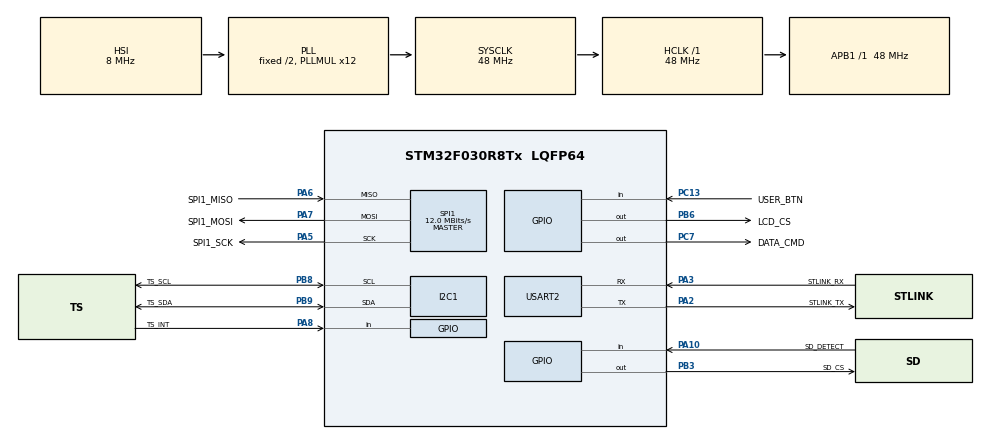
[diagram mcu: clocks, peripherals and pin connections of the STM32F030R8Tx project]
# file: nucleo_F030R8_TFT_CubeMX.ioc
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Mcu.Family=STM32F0
PA2.GPIO_PuPd=GPIO_NOPULL
PA6.Mode=Full_Duplex_Master
SPI1.VirtualType=VM_MASTER
PA10.GPIO_PuPd=GPIO_PULLUP
PA14.GPIO_Label=TCK
PA3.GPIO_PuPd=GPIO_NOPULL
PA2.GPIO_Speed=GPIO_SPEED_FREQ_LOW
PA6.GPIO_Label=SPI1_MISO
PB6.GPIO_Label=LCD_CS
PC13.GPIO_Label=USER_BTN
PA3.GPIO_Speed=GPIO_SPEED_FREQ_LOW
PB3.GPIO_Speed=GPIO_SPEED_FREQ_MEDIUM
RCC.SYSCLKSource=RCC_SYSCLKSOURCE_PLLCLK
ProjectManager.StackSize=0x400
SPI1.CLKPolarity=SPI_POLARITY_LOW
PB3.PinState=GPIO_PIN_SET
SPI1.Direction=SPI_DIRECTION_2LINES
RCC.HCLKFreq_Value=48000000
PB6.Signal=GPIO_Output
PC7.Signal=GPIO_Output
SPI1.CalculateBaudRate=12.0 MBits/s
RCC.AHBFreq_Value=48000000
USART2.VirtualMode-Asynchronous=VM_ASYNC
RCC.PLLMUL=RCC_PLL_MUL12
PA6.GPIO_PuPd=GPIO_PULLUP
PB3.GPIO_PuPd=GPIO_PULLUP
PC14-OSC32_IN.Mode=LSE-External-Oscillator
PA14.Mode=Serial_Wire
PA5.GPIO_PuPd=GPIO_PULLUP
SPI1.DataSize=SPI_DATASIZE_8BIT
PA10.GPIO_Label=SD_DETECT
PC7.PinState=GPIO_PIN_SET
PA8.Signal=GPIO_Input
Mcu.Package=LQFP64
PB9.Signal=I2C1_SDA
PA6.Signal=SPI1_MISO
PA2.GPIO_Label=STLINK_TX
PA10.Signal=GPIO_Input
RCC.APB1TimFreq_Value=48000000
SPI1.BaudRatePrescaler=SPI_BAUDRATEPRESCALER_4
PF1-OSC_OUT.Signal=RCC_OSC_OUT
PA3.Signal=USART2_RX
PA5.Mode=Full_Duplex_Master
PA2.GPIO_Mode=GPIO_MODE_AF_PP
PB3.GPIO_Label=SD_CS
PC15-OSC32_OUT.Mode=LSE-External-Oscillator
PA7.Mode=Full_Duplex_Master
PB9.GPIO_Label=TS_SDA
PC13.Signal=GPIO_Input
PB6.GPIO_PuPd=GPIO_PULLUP
SPI1.CLKPhase=SPI_PHASE_1EDGE
PC14-OSC32_IN.Signal=RCC_OSC32_IN
PA13.Signal=SYS_SWDIO
PA3.Mode=Asynchronous
PB8.GPIO_Label=TS_SCL
PA8.GPIO_Label=TS_INT
ProjectManager.TargetToolchain=STM32CubeIDE
PA3.GPIO_Mode=GPIO_MODE_AF_PP
PB9.Mode=I2C
PC7.GPIO_PuPd=GPIO_PULLUP
PC15-OSC32_OUT.Signal=RCC_OSC32_OUT
PA7.GPIO_PuPd=GPIO_PULLUP
VP_FATFS_VS_Generic.Mode=User_defined
PF0-OSC_IN.Mode=HSE-External-Clock-Source
PA5.Signal=SPI1_SCK
board=NUCLEO-F030R8
PC7.GPIO_Speed=GPIO_SPEED_FREQ_MEDIUM
SPI1.Mode=SPI_MODE_MASTER
PA13.Mode=Serial_Wire
Mcu.Name=STM32F030R8Tx
SPI1.NSSPMode=SPI_NSS_PULSE_ENABLE
PA13.GPIO_Label=TMS
PA2.Signal=USART2_TX
PC7.GPIO_Label=DATA_CMD
PB3.Signal=GPIO_Output
RCC.SYSCLKFreq_VALUE=48000000
PA7.GPIO_Label=SPI1_MOSI
PA5.GPIO_Label=SPI1_SCK
PB6.PinState=GPIO_PIN_SET
PA14.Signal=SYS_SWCLK
ProjectManager.HeapSize=0x200
PB8.Mode=I2C
PA2.Mode=Asynchronous
PB8.Signal=I2C1_SCL
PF0-OSC_IN.Signal=RCC_OSC_IN
PB6.GPIO_Speed=GPIO_SPEED_FREQ_MEDIUM
RCC.APB1Freq_Value=48000000
PA3.GPIO_Label=STLINK_RX
PA7.Signal=SPI1_MOSI

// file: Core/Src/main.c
/* USER CODE BEGIN Header */
/**
  ******************************************************************************
  * @file           : main.c
  * @brief          : Main program body
  ******************************************************************************
  * @attention
  *
  * <h2><center>&copy; Copyright (c) 2021 STMicroelectronics.
  * All rights reserved.</center></h2>
  *
  * This software component is licensed by ST under BSD 3-Clause license,
  * the "License"; You may not use this file except in compliance with the
  * License. You may obtain a copy of the License at:
  *                        opensource.org/licenses/BSD-3-Clause
  *
  ******************************************************************************
  */
/* USER CODE END Header */
#include "main.h"
#include "fatfs.h"
#include "i2c.h"
#include "spi.h"
#include "usart.h"
#include "gpio.h"

/* USER CODE BEGIN Includes */
#include "lcd.h"
#include "ts.h"
#include <stdio.h>
#include <string.h>

//#include <stdarg.h> //for va_list var arg functions

/* USER CODE END Includes */

/* USER CODE BEGIN PV */
uint8_t flag = 0;
/* USER CODE END PV */

void SystemClock_Config(void);
/* USER CODE BEGIN PFP */
//void myprintf(const char *fmt, ...);
/* USER CODE END PFP */

/* USER CODE BEGIN 0 */
#if 0
void myprintf(const char *fmt, ...)
{
  static char buffer[256];
  va_list args;
  va_start(args, fmt);
  vsnprintf(buffer, sizeof(buffer), fmt, args);
  va_end(args);

  int len = strlen(buffer);
  HAL_UART_Transmit(&huart2, (uint8_t*)buffer, len, -1);

}
#endif

/* USER CODE END 0 */

int main(void)
{

  /* MCU Configuration--------------------------------------------------------*/

  /* Reset of all peripherals, Initializes the Flash interface and the Systick. */
  HAL_Init();

  /* Configure the system clock */
  SystemClock_Config();

  /* Initialize all configured peripherals */
  MX_GPIO_Init();
  MX_USART2_UART_Init();
  MX_I2C1_Init();
  MX_SPI1_Init();
  MX_FATFS_Init();
  /* USER CODE BEGIN 2 */

  HAL_Delay(1000);

  printf("\r\n\r\nPOR\r\n");
  printf("Build: " __DATE__ ", " __TIME__ "\r\n");

  LCD_Init();
  LCD_FillScreen(LCD_WHITE);
  LCD_cursor_x = 0;
  LCD_cursor_y = 40;
  LCD_textcolor = LCD_BLACK;
  LCD_font = &FreeMono12pt7b;
  //  LCD_Font = &FreeMono12pt7b;
//  LCD_DrawText( (const uint8_t *)"Mono\n" );
//  LCD_Font = &FreeSans12pt7b;
//  LCD_DrawText( (const uint8_t *)"Sans\n" );
//  LCD_Font = &FreeSerif12pt7b;
//  LCD_DrawText( (const uint8_t *)"Serif\n" );

  char text[64];
  //LCD_WriteFillRectPreclipped(10, 20, 30, 40, ILI9341_RED);
  //LCD_DrawHLine(41,60, 30, ILI9341_BLUE );
  //LCD_DrawVLine(40,61, 40, ILI9341_GREEN );
  //LCD_DrawLine(1,1, 100, 200, ILI9341_WHITE);

  TS_Init(40);

  /* USER CODE END 2 */

  /* Infinite loop */
  /* USER CODE BEGIN WHILE */
  flag = 0;
  uint8_t rot= 3;
  LCD_SetRotation(rot);
  TS_SetRotation(rot);

  while (1)
  {
      if (HAL_GPIO_ReadPin(USER_BTN_GPIO_Port, USER_BTN_Pin) != GPIO_PIN_SET)
      {
          rot = (rot+1) % 4;
          LCD_SetRotation(rot);
          TS_SetRotation(rot);
          LCD_FillScreen(LCD_WHITE);
          LCD_cursor_x = 0;
          LCD_cursor_y = LCD_font->yAdvance;
          sprintf(text, "Rotation %d", rot);
          printf("%s\r\n", text);
          LCD_DrawText( (uint8_t *) text);
      }

      TS_ReadData();
      if (TS_isTouched)
      {
          sprintf(text, "%3d,%3d", TS_touchX, TS_touchY);
          printf("%s\r\n", text);
          LCD_cursor_x = 0;
          LCD_cursor_y = 2 * LCD_font->yAdvance;
          LCD_DrawFillRect(LCD_cursor_x, LCD_cursor_y, 120,-LCD_font->yAdvance, LCD_WHITE);
          LCD_DrawText( (uint8_t *) text);
      }

#if 0
      //printf("------------------\r\n");
      TS_ReadData();
      if (TS_isTouched)
      {
          printf("(%d,%d)\r\n", TS_touchX, TS_touchY);
          flag = 0;
      }
      else if (flag == 0)
      {
          printf("Not Touched\r\n");
          flag = 1;
      }
#endif

#if 0
      if (HAL_GPIO_ReadPin(TS_INT_GPIO_Port, TS_INT_Pin))
      {
          printf("*\r\n");
      }
      else
      {
          printf(".\r\n");
      }
#endif

      /* USER CODE END WHILE */

  }
}

void SystemClock_Config(void)
{
  RCC_OscInitTypeDef RCC_OscInitStruct = {0};
  RCC_ClkInitTypeDef RCC_ClkInitStruct = {0};
  RCC_PeriphCLKInitTypeDef PeriphClkInit = {0};

  /** Initializes the RCC Oscillators according to the specified parameters
  * in the RCC_OscInitTypeDef structure.
  */
  RCC_OscInitStruct.OscillatorType = RCC_OSCILLATORTYPE_HSI;
  RCC_OscInitStruct.HSIState = RCC_HSI_ON;
  RCC_OscInitStruct.HSICalibrationValue = RCC_HSICALIBRATION_DEFAULT;
  RCC_OscInitStruct.PLL.PLLState = RCC_PLL_ON;
  RCC_OscInitStruct.PLL.PLLSource = RCC_PLLSOURCE_HSI;
  RCC_OscInitStruct.PLL.PLLMUL = RCC_PLL_MUL12;
  RCC_OscInitStruct.PLL.PREDIV = RCC_PREDIV_DIV1;
  if (HAL_RCC_OscConfig(&RCC_OscInitStruct) != HAL_OK)
  {
    Error_Handler();
  }
  /** Initializes the CPU, AHB and APB buses clocks
  */
  RCC_ClkInitStruct.ClockType = RCC_CLOCKTYPE_HCLK|RCC_CLOCKTYPE_SYSCLK
                              |RCC_CLOCKTYPE_PCLK1;
  RCC_ClkInitStruct.SYSCLKSource = RCC_SYSCLKSOURCE_PLLCLK;
  RCC_ClkInitStruct.AHBCLKDivider = RCC_SYSCLK_DIV1;
  RCC_ClkInitStruct.APB1CLKDivider = RCC_HCLK_DIV1;

  if (HAL_RCC_ClockConfig(&RCC_ClkInitStruct, FLASH_LATENCY_1) != HAL_OK)
  {
    Error_Handler();
  }
  PeriphClkInit.PeriphClockSelection = RCC_PERIPHCLK_I2C1;
  PeriphClkInit.I2c1ClockSelection = RCC_I2C1CLKSOURCE_HSI;
  if (HAL_RCCEx_PeriphCLKConfig(&PeriphClkInit) != HAL_OK)
  {
    Error_Handler();
  }
}

/* USER CODE BEGIN 4 */

int __io_putchar(int ch)
{
    /* Write a character to the UART and block until transmitted */
    HAL_UART_Transmit(&UART_HANDLE, (uint8_t *)&ch, 1, HAL_MAX_DELAY);
    return ch;
}

int __io_getchar(void)
{
    int ch;
    /* Read a character from UART and block until received */
    HAL_UART_Receive(&UART_HANDLE, (uint8_t *)&ch, 1, HAL_MAX_DELAY);
    return ch;
}

/* USER CODE END 4 */

void Error_Handler(void)
{
  __disable_irq();
  while (1)
  {
  }
}

/************************ (C) COPYRIGHT STMicroelectronics *****END OF FILE****/
